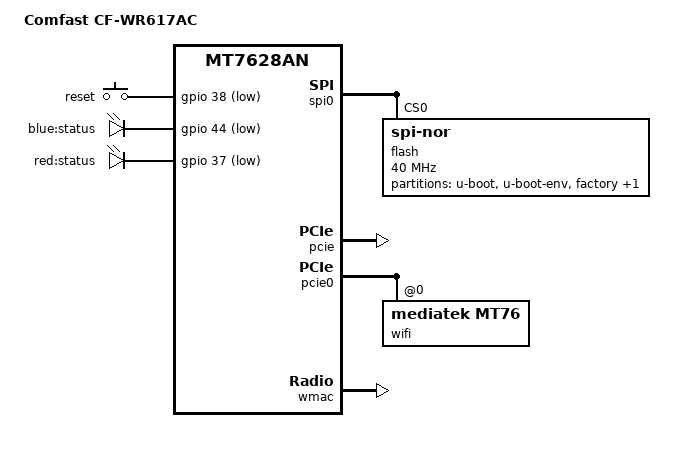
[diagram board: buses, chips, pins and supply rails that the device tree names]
// SPDX-License-Identifier: GPL-2.0-or-later OR MIT
/dts-v1/;

#include "mt7628an.dtsi"
#include <dt-bindings/gpio/gpio.h>
#include <dt-bindings/input/input.h>

/ {
	compatible = "comfast,cf-wr617ac", "mediatek,mt7628an-soc";
	model = "Comfast CF-WR617AC";

	keys {
		compatible = "gpio-keys";
		reset {
			label = "reset";
			gpios = <&gpio 38 GPIO_ACTIVE_LOW>;
			linux,code = <KEY_RESTART>;
		};
	};

	leds {
		compatible = "gpio-leds";
		led_status_blue: status_blue {
			label = "blue:status";
			gpios = <&gpio 44 GPIO_ACTIVE_LOW>;
		};
		led_status_red: status_red {
			label = "red:status";
			gpios = <&gpio 37 GPIO_ACTIVE_LOW>;
		};
	};

	aliases {
		led-boot = &led_status_red;
		led-failsafe = &led_status_red;
		led-running = &led_status_blue;
		led-upgrade = &led_status_red;
	};


	chosen {
		bootargs = "console=ttyS0,115200";
	};

};

&spi0 {
	status = "okay";

	flash@0 {
		compatible = "jedec,spi-nor";
		reg = <0>;
		spi-max-frequency = <40000000>;

		partitions {
			compatible = "fixed-partitions";
			#address-cells = <1>;
			#size-cells = <1>;

			partition@0 {
				label = "u-boot";
				reg = <0x0 0x30000>;
				read-only;
			};

			partition@30000 {
				label = "u-boot-env";
				reg = <0x30000 0x10000>;
				read-only;
			};

			factory: partition@40000 {
				label = "factory";
				reg = <0x40000 0x10000>;
				read-only;
			};

			partition@50000 {
				compatible = "denx,uimage";
				label = "firmware";
				reg = <0x50000 0x760000>;
			};
		};
	};
};

&pcie {
	status = "okay";
};

&pcie0 {
	wifi@0,0 {
		compatible = "mediatek,mt76";
		reg = <0x0000 0 0 0 0>;
		mediatek,mtd-eeprom = <&factory 0x8000>;
		ieee80211-freq-limit = <5000000 6000000>;
		mtd-mac-address = < 0x8004>;
		mac-address-increment = <2>;
	};
};

&ethernet {
	nvmem-cells = <&macaddr_factory_e000>;
	nvmem-cell-names = "mac-address";
};

&esw {
	mediatek,portmap = <0x2f>;
};

&wmac {
	status = "okay";
	mediatek,mtd-eeprom = <&factory 0x0>;
};

&factory {
	compatible = "nvmem-cells";
	#address-cells = <1>;
	#size-cells = <1>;
	macaddr_factory_e000: macaddr@4 {
		reg = <0xe000 0x6>;
	};
};
